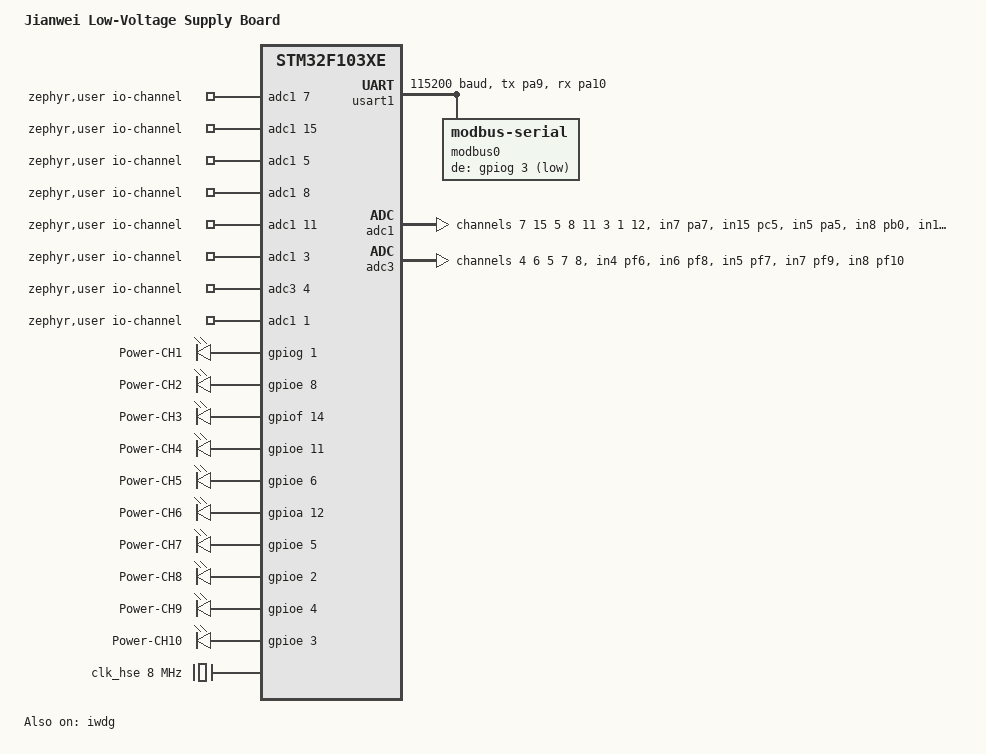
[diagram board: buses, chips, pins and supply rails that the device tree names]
/dts-v1/;

#include <st/f1/stm32f103Xe.dtsi>
#include <st/f1/stm32f103z(c-d-e)tx-pinctrl.dtsi>

/{
	model = "Jianwei Low-Voltage Supply Board";
	compatible = "jw,lvb";

	chosen {
		zephyr,sram = &sram0;
		zephyr,flash = &flash0;
	};

  /* V/I measurement channels: index is channel id, 0-9 for voltage, 10-19 for current */
	zephyr,user {
		io-channels = <&adc1 7>, <&adc1 15>, <&adc1 5>, <&adc1 8>, <&adc1 11>,
                  <&adc1 3>, <&adc3 4>,  <&adc1 1>, <&adc3 6>, <&adc1 12>,
		              <&adc1 6>, <&adc1 14>, <&adc1 4>, <&adc1 9>, <&adc1 10>,
                  <&adc1 2>, <&adc3 5>,  <&adc1 13>,<&adc3 7>, <&adc3 8>;
	};

 /* power switch channels */
	aliases {
		watchdog0 = &iwdg;

		pwr0 = &pwr_0;
		pwr1 = &pwr_1;
		pwr2 = &pwr_2;
		pwr3 = &pwr_3;
		pwr4 = &pwr_4;
		pwr5 = &pwr_5;
		pwr6 = &pwr_6;
		pwr7 = &pwr_7;
		pwr8 = &pwr_8;
		pwr9 = &pwr_9;
	};
  
  /* use gpio-leds dts to emulate power switch behavior */
	powers {
		compatible = "gpio-leds";
		pwr_0: pwr_0 { // always-on channel
			gpios = <&gpiog 1 (GPIO_PULL_UP | GPIO_ACTIVE_HIGH)>;
			label = "Power-CH1";
		};
		pwr_1: pwr_1 {
			// gpios = <&gpioe 8 GPIO_ACTIVE_HIGH>;
			gpios = <&gpioe 8 (GPIO_PULL_UP | GPIO_ACTIVE_HIGH)>;
			label = "Power-CH2";
		};
		pwr_2: pwr_2 {
			// gpios = <&gpiof 14 GPIO_ACTIVE_HIGH>;
			gpios = <&gpiof 14 (GPIO_PULL_UP | GPIO_ACTIVE_HIGH)>;
			label = "Power-CH3";
		};
		pwr_3: pwr_3 {
			// gpios = <&gpioe 11 GPIO_ACTIVE_HIGH>;
			gpios = <&gpioe 11 (GPIO_PULL_UP | GPIO_ACTIVE_HIGH)>;
			label = "Power-CH4";
		};
		pwr_4: pwr_4 {
			// gpios = <&gpioe 6  GPIO_ACTIVE_HIGH>;
			gpios = <&gpioe 6 (GPIO_PULL_UP | GPIO_ACTIVE_HIGH)>;
			label = "Power-CH5";
		};
		pwr_5: pwr_5 {
			// gpios = <&gpioa 12 GPIO_ACTIVE_HIGH>;
			gpios = <&gpioa 12 (GPIO_PULL_UP | GPIO_ACTIVE_HIGH)>;
			label = "Power-CH6";
		};
		pwr_6: pwr_6 {
			// gpios = <&gpioe 5 GPIO_ACTIVE_HIGH>;
			gpios = <&gpioe 5 (GPIO_PULL_UP | GPIO_ACTIVE_HIGH)>;
			label = "Power-CH7";
		};
		pwr_7: pwr_7 {
			// gpios = <&gpioe 2 GPIO_ACTIVE_HIGH>;
			gpios = <&gpioe 2 (GPIO_PULL_UP | GPIO_ACTIVE_HIGH)>;
			label = "Power-CH8";
		};
		pwr_8: pwr_8 {
			// gpios = <&gpioe 4 GPIO_ACTIVE_HIGH>;
			gpios = <&gpioe 4 (GPIO_PULL_UP | GPIO_ACTIVE_HIGH)>;
			label = "Power-CH9";
		};
		pwr_9: pwr_9 {
			// gpios = <&gpioe 3 GPIO_ACTIVE_HIGH>;
			gpios = <&gpioe 3 (GPIO_PULL_UP | GPIO_ACTIVE_HIGH)>;
			label = "Power-CH10";
		};
	};

};

/* clocks: max cpu clock allowed is 72 MHz */

&clk_hse {
	clock-frequency = <DT_FREQ_M(8)>;
 	status = "okay";
};

&pll {
	mul = <9>;
	clocks = <&clk_hse>; 
	status = "okay";
};

&rcc {
	clocks = <&pll>;
	clock-frequency = <DT_FREQ_M(72)>;
	ahb-prescaler = <1>; // 72 MHz for hse, 64 MHz for hsi
	apb1-prescaler = <2>; // max 36 MHz for hse, 32 MHz for hsi
	apb2-prescaler = <1>; // 72 MHz for hse, 64 MHz for hsi
};

/* watchdog */
&iwdg {
	status = "okay";
};

/* disable jtag-dp to release PA15, PB3 and PB4 */
// &pinctrl {
//  swj-cfg = "jtag-disable";
//};


/* communication: */

/* - uart1 for modbus */
&usart1 {
	pinctrl-0 = <&usart1_tx_pa9 &usart1_rx_pa10>;
	pinctrl-names = "default";
	current-speed = <115200>;
	status = "okay";

	modbus0 {
		compatible = "zephyr,modbus-serial";
		status = "okay";

		de-gpios = <&gpiog 3 (GPIO_PULL_UP | GPIO_ACTIVE_LOW)>;
	};
};

/* dt adc channels: migrated from google_twinkie_v2 */
&adc1 {
	#address-cells = <1>;
	#size-cells = <0>;

	pinctrl-0 = <&adc1_in7_pa7	// V1
          	   &adc1_in15_pc5	// V2
          	   &adc1_in5_pa5	// V3
          	   &adc1_in8_pb0	// V4
          	   &adc1_in11_pc1	// V5
          	   &adc1_in3_pa3	// V6
          	   &adc1_in1_pa1	// V8
          	   &adc1_in12_pc2	// V10

          	   &adc1_in6_pa6	// I1
          	   &adc1_in14_pc4	// I2
          	   &adc1_in4_pa4	// I3
          	   &adc1_in9_pb1	// I4
          	   &adc1_in10_pc0	// I5
          	   &adc1_in2_pa2	// I6
          	   &adc1_in13_pc3	// I8
		          >;
	pinctrl-names = "default";
	status = "okay";

	channel@7 {
		reg = <7>;
		zephyr,gain = "ADC_GAIN_1";
		zephyr,reference = "ADC_REF_INTERNAL";
		zephyr,acquisition-time = <ADC_ACQ_TIME_DEFAULT>;
		zephyr,resolution = <12>;
	};
	channel@f {
		reg = <15>;
		zephyr,gain = "ADC_GAIN_1";
		zephyr,reference = "ADC_REF_INTERNAL";
		zephyr,acquisition-time = <ADC_ACQ_TIME_DEFAULT>;
		zephyr,resolution = <12>;
	};
	channel@5 {
		reg = <5>;
		zephyr,gain = "ADC_GAIN_1";
		zephyr,reference = "ADC_REF_INTERNAL";
		zephyr,acquisition-time = <ADC_ACQ_TIME_DEFAULT>;
		zephyr,resolution = <12>;
	};
	channel@8 {
		reg = <8>;
		zephyr,gain = "ADC_GAIN_1";
		zephyr,reference = "ADC_REF_INTERNAL";
		zephyr,acquisition-time = <ADC_ACQ_TIME_DEFAULT>;
		zephyr,resolution = <12>;
	};
	channel@b {
		reg = <11>;
		zephyr,gain = "ADC_GAIN_1";
		zephyr,reference = "ADC_REF_INTERNAL";
		zephyr,acquisition-time = <ADC_ACQ_TIME_DEFAULT>;
		zephyr,resolution = <12>;
	};
	channel@3 {
		reg = <3>;
		zephyr,gain = "ADC_GAIN_1";
		zephyr,reference = "ADC_REF_INTERNAL";
		zephyr,acquisition-time = <ADC_ACQ_TIME_DEFAULT>;
		zephyr,resolution = <12>;
	};
	channel@1 {
		reg = <1>;
		zephyr,gain = "ADC_GAIN_1";
		zephyr,reference = "ADC_REF_INTERNAL";
		zephyr,acquisition-time = <ADC_ACQ_TIME_DEFAULT>;
		zephyr,resolution = <12>;
	};
	channel@c {
		reg = <12>;
		zephyr,gain = "ADC_GAIN_1";
		zephyr,reference = "ADC_REF_INTERNAL";
		zephyr,acquisition-time = <ADC_ACQ_TIME_DEFAULT>;
		zephyr,resolution = <12>;
	};
};

// &adc2 {};

&adc3 {
	#address-cells = <1>;
	#size-cells = <0>;

	pinctrl-0 = <&adc3_in4_pf6	// V7
               &adc3_in6_pf8  // V9

          	   &adc3_in5_pf7	// I7
          	   &adc3_in7_pf9	// I9
          	   &adc3_in8_pf10 // I10
		          >;
	pinctrl-names = "default";
	status = "okay";

	channel@4 {
		reg = <4>;
		zephyr,gain = "ADC_GAIN_1";
		zephyr,reference = "ADC_REF_INTERNAL";
		zephyr,acquisition-time = <ADC_ACQ_TIME_DEFAULT>;
		zephyr,resolution = <12>;
	};
	channel@6 {
		reg = <6>;
		zephyr,gain = "ADC_GAIN_1";
		zephyr,reference = "ADC_REF_INTERNAL";
		zephyr,acquisition-time = <ADC_ACQ_TIME_DEFAULT>;
		zephyr,resolution = <12>;
	};
	channel@5 {
		reg = <5>;
		zephyr,gain = "ADC_GAIN_1";
		zephyr,reference = "ADC_REF_INTERNAL";
		zephyr,acquisition-time = <ADC_ACQ_TIME_DEFAULT>;
		zephyr,resolution = <12>;
	};
	channel@7 {
		reg = <7>;
		zephyr,gain = "ADC_GAIN_1";
		zephyr,reference = "ADC_REF_INTERNAL";
		zephyr,acquisition-time = <ADC_ACQ_TIME_DEFAULT>;
		zephyr,resolution = <12>;
	};
	channel@8 {
		reg = <8>;
		zephyr,gain = "ADC_GAIN_1";
		zephyr,reference = "ADC_REF_INTERNAL";
		zephyr,acquisition-time = <ADC_ACQ_TIME_DEFAULT>;
		zephyr,resolution = <12>;
	};
};

